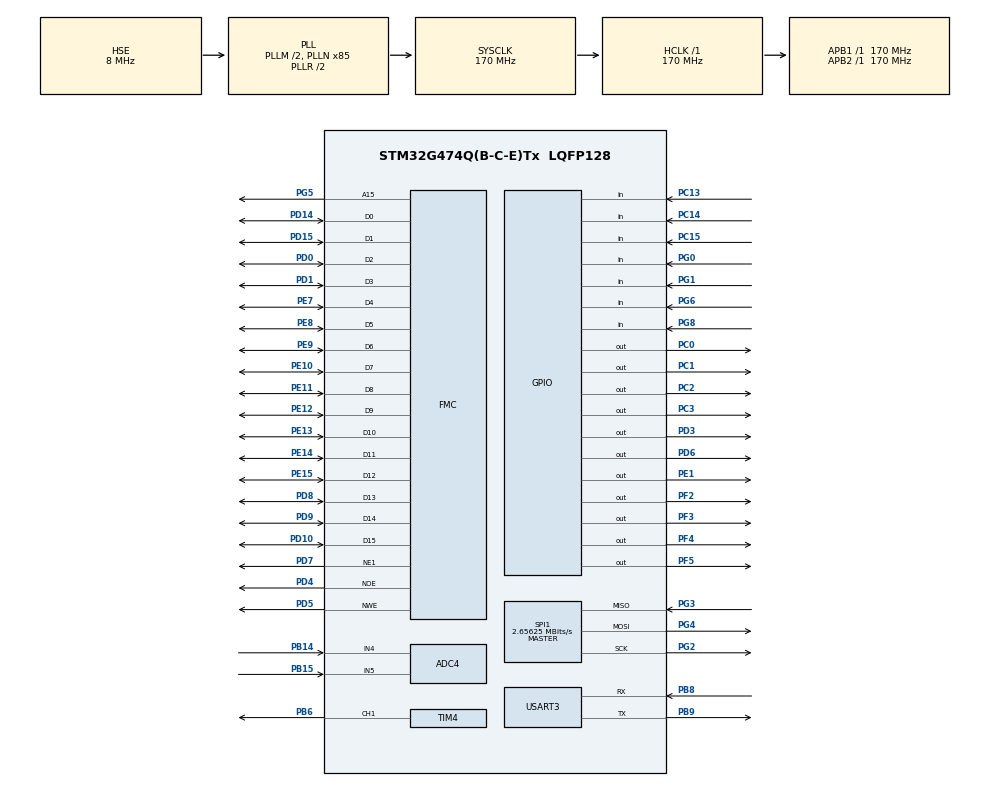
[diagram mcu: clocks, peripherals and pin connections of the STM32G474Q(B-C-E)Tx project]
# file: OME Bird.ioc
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ADC4.Channel-0\#ChannelRegularConversion=ADC_CHANNEL_4
ADC4.Channel-1\#ChannelRegularConversion=ADC_CHANNEL_4
ADC4.DMAContinuousRequests=ENABLE
ADC4.ExternalTrigConv=ADC_EXTERNALTRIG_T1_TRGO
ADC4.NbrOfConversion=2
ADC4.NbrOfConversionFlag=1
ADC4.OffsetNumber-0\#ChannelRegularConversion=ADC_OFFSET_NONE
ADC4.OffsetNumber-1\#ChannelRegularConversion=ADC_OFFSET_NONE
ADC4.Rank-0\#ChannelRegularConversion=1
ADC4.Rank-1\#ChannelRegularConversion=2
ADC4.SamplingTime-0\#ChannelRegularConversion=ADC_SAMPLETIME_640CYCLES_5
ADC4.SamplingTime-1\#ChannelRegularConversion=ADC_SAMPLETIME_2CYCLES_5
ADC4.SingleDiff-0\#ChannelRegularConversion=ADC_DIFFERENTIAL_ENDED
ADC4.SingleDiff-1\#ChannelRegularConversion=ADC_DIFFERENTIAL_ENDED
Dma.ADC4.0.Direction=DMA_PERIPH_TO_MEMORY
Dma.ADC4.0.EventEnable=DISABLE
Dma.ADC4.0.Instance=DMA1_Channel2
Dma.ADC4.0.MemDataAlignment=DMA_MDATAALIGN_HALFWORD
Dma.ADC4.0.MemInc=DMA_MINC_ENABLE
Dma.ADC4.0.Mode=DMA_CIRCULAR
Dma.ADC4.0.PeriphDataAlignment=DMA_PDATAALIGN_HALFWORD
Dma.ADC4.0.PeriphInc=DMA_PINC_DISABLE
Dma.ADC4.0.Polarity=HAL_DMAMUX_REQ_GEN_RISING
Dma.ADC4.0.Priority=DMA_PRIORITY_LOW
Dma.ADC4.0.RequestNumber=1
Dma.ADC4.0.SignalID=NONE
Dma.ADC4.0.SyncEnable=DISABLE
Dma.ADC4.0.SyncPolarity=HAL_DMAMUX_SYNC_NO_EVENT
Dma.ADC4.0.SyncRequestNumber=1
Dma.ADC4.0.SyncSignalID=NONE
Dma.MEMTOMEM.1.Direction=DMA_MEMORY_TO_MEMORY
Dma.MEMTOMEM.1.EventEnable=DISABLE
Dma.MEMTOMEM.1.Instance=DMA1_Channel1
Dma.MEMTOMEM.1.MemDataAlignment=DMA_MDATAALIGN_BYTE
Dma.MEMTOMEM.1.MemInc=DMA_MINC_ENABLE
Dma.MEMTOMEM.1.Mode=DMA_NORMAL
Dma.MEMTOMEM.1.PeriphDataAlignment=DMA_PDATAALIGN_BYTE
Dma.MEMTOMEM.1.PeriphInc=DMA_PINC_ENABLE
Dma.MEMTOMEM.1.Polarity=HAL_DMAMUX_REQ_GEN_RISING
Dma.MEMTOMEM.1.Priority=DMA_PRIORITY_HIGH
Dma.MEMTOMEM.1.RequestNumber=1
Dma.MEMTOMEM.1.SignalID=NONE
Dma.MEMTOMEM.1.SyncEnable=DISABLE
Dma.MEMTOMEM.1.SyncPolarity=HAL_DMAMUX_SYNC_NO_EVENT
Dma.MEMTOMEM.1.SyncRequestNumber=1
Dma.MEMTOMEM.1.SyncSignalID=NONE
Dma.Request0=ADC4
Dma.Request1=MEMTOMEM
FMC.AddressSetupTime1=1
FMC.BusTurnAroundDuration1=1
FMC.DataHoldTime1=1
FMC.DataSetupTime1=1
Mcu.Family=STM32G4
Mcu.Name=STM32G474Q(B-C-E)Tx
Mcu.Package=LQFP128
NVIC.DMA1_Channel1_IRQn=true\:0\:0\:false\:false\:true\:false\:true\:true
NVIC.DMA1_Channel2_IRQn=true\:0\:0\:false\:false\:true\:false\:true\:true
NVIC.PriorityGroup=NVIC_PRIORITYGROUP_4
NVIC.TIM6_DAC_IRQn=true\:15\:0\:true\:false\:true\:true\:true\:true
NVIC.USART3_IRQn=true\:0\:0\:false\:false\:true\:true\:true\:true
PB14.Mode=IN4-Differential
PB14.Signal=ADC4_IN4
PB15.Mode=IN4-Differential
PB15.Signal=ADC4_IN5
PB6.Signal=S_TIM4_CH1
PB8-BOOT0.Mode=Asynchronous
PB8-BOOT0.Signal=USART3_RX
PB9.Mode=Asynchronous
PB9.Signal=USART3_TX
PC0.Signal=GPIO_Output
PC1.Signal=GPIO_Output
PC13.GPIO_PuPd=GPIO_PULLUP
PC13.Signal=GPIO_Input
PC14-OSC32_IN.GPIO_PuPd=GPIO_PULLUP
PC14-OSC32_IN.Signal=GPIO_Input
PC15-OSC32_OUT.GPIO_PuPd=GPIO_PULLUP
PC15-OSC32_OUT.Signal=GPIO_Input
PC2.Signal=GPIO_Output
PC3.Signal=GPIO_Output
PD0.Signal=FMC_D2_DA2
PD1.Signal=FMC_D3_DA3
PD10.Signal=FMC_D15_DA15
PD14.Signal=FMC_D0_DA0
PD15.Signal=FMC_D1_DA1
PD3.Signal=GPIO_Output
PD4.Signal=FMC_NOE
PD5.Signal=FMC_NWE
PD6.Signal=GPIO_Output
PD7.Mode=NorPsramChipSelect1_1
PD7.Signal=FMC_NE1
PD8.Signal=FMC_D13_DA13
PD9.Signal=FMC_D14_DA14
PE1.Signal=GPIO_Output
PE10.Signal=FMC_D7_DA7
PE11.Signal=FMC_D8_DA8
PE12.Signal=FMC_D9_DA9
PE13.Signal=FMC_D10_DA10
PE14.Signal=FMC_D11_DA11
PE15.Signal=FMC_D12_DA12
PE7.Signal=FMC_D4_DA4
PE8.Signal=FMC_D5_DA5
PE9.Signal=FMC_D6_DA6
PF0-OSC_IN.Mode=HSE-External-Clock-Source
PF0-OSC_IN.Signal=RCC_OSC_IN
PF2.Signal=GPIO_Output
PF3.Signal=GPIO_Output
PF4.Signal=GPIO_Output
PF5.Signal=GPIO_Output
PG0.GPIO_PuPd=GPIO_PULLUP
PG0.Signal=GPIO_Input
PG1.GPIO_PuPd=GPIO_PULLUP
PG1.Signal=GPIO_Input
PG2.Mode=Full_Duplex_Master
PG2.Signal=SPI1_SCK
PG3.Mode=Full_Duplex_Master
PG3.Signal=SPI1_MISO
PG4.Mode=Full_Duplex_Master
PG4.Signal=SPI1_MOSI
PG5.Signal=FMC_A15
PG6.GPIO_PuPd=GPIO_PULLUP
PG6.Signal=GPIO_Input
PG8.GPIO_PuPd=GPIO_PULLUP
PG8.Signal=GPIO_Input
ProjectManager.HeapSize=0x200
ProjectManager.StackSize=0x400
ProjectManager.TargetToolchain=STM32CubeIDE
RCC.ADC12Freq_Value=170000000
RCC.ADC345Freq_Value=170000000
RCC.AHBFreq_Value=170000000
RCC.APB1Freq_Value=170000000
RCC.APB1TimFreq_Value=170000000
RCC.APB2Freq_Value=170000000
RCC.APB2TimFreq_Value=170000000
RCC.CortexFreq_Value=170000000
RCC.EXTERNAL_CLOCK_VALUE=12288000
RCC.HCLKFreq_Value=170000000
RCC.HSE_VALUE=8000000
RCC.HSI48_VALUE=48000000
RCC.HSI_VALUE=16000000
RCC.LSE_VALUE=32768
RCC.PLLM=RCC_PLLM_DIV2
RCC.PLLN=85
RCC.PLLQ=RCC_PLLQ_DIV6
RCC.PLLSourceVirtual=RCC_PLLSOURCE_HSE
RCC.SYSCLKFreq_VALUE=170000000
RCC.SYSCLKSource=RCC_SYSCLKSOURCE_PLLCLK
RCC.USBFreq_Value=56666666.666666664
RCC.VCOOutputFreq_Value=340000000
SH.FMC_A15.0=FMC_A15,A15_1
SH.FMC_D0_DA0.0=FMC_D0,16b-d1
SH.FMC_D10_DA10.0=FMC_D10,16b-d1
SH.FMC_D11_DA11.0=FMC_D11,16b-d1
SH.FMC_D12_DA12.0=FMC_D12,16b-d1
SH.FMC_D13_DA13.0=FMC_D13,16b-d1
SH.FMC_D14_DA14.0=FMC_D14,16b-d1
SH.FMC_D15_DA15.0=FMC_D15,16b-d1
SH.FMC_D1_DA1.0=FMC_D1,16b-d1
SH.FMC_D2_DA2.0=FMC_D2,16b-d1
SH.FMC_D3_DA3.0=FMC_D3,16b-d1
SH.FMC_D4_DA4.0=FMC_D4,16b-d1
SH.FMC_D5_DA5.0=FMC_D5,16b-d1
SH.FMC_D6_DA6.0=FMC_D6,16b-d1
SH.FMC_D7_DA7.0=FMC_D7,16b-d1
SH.FMC_D8_DA8.0=FMC_D8,16b-d1
SH.FMC_D9_DA9.0=FMC_D9,16b-d1
SH.FMC_NOE.0=FMC_NOE,Lcd1
SH.FMC_NWE.0=FMC_NWE,Lcd1
SH.S_TIM4_CH1.0=TIM4_CH1,PWM Generation1 CH1
SPI1.BaudRatePrescaler=SPI_BAUDRATEPRESCALER_64
SPI1.CalculateBaudRate=2.65625 MBits/s
SPI1.DataSize=SPI_DATASIZE_8BIT
SPI1.Direction=SPI_DIRECTION_2LINES
SPI1.Mode=SPI_MODE_MASTER
SPI1.NSSPMode=SPI_NSS_PULSE_DISABLE
SPI1.VirtualType=VM_MASTER
TIM1.TIM_MasterOutputTrigger=TIM_TRGO_UPDATE
TIM4.Channel-PWM\ Generation1\ CH1=TIM_CHANNEL_1
TIM4.PeriodNoDither=99
TIM4.Prescaler=1439
TIM6.PeriodNoDither=49999
TIM6.Prescaler=143
USART3.OverrunDisableParam=ADVFEATURE_OVERRUN_DISABLE
USART3.VirtualMode-Asynchronous=VM_ASYNC
VP_SYS_VS_DBSignals.Mode=DisableDeadBatterySignals
VP_TIM1_VS_ClockSourceINT.Mode=Internal
VP_TIM4_VS_ClockSourceINT.Mode=Internal
VP_TIM6_VS_ClockSourceINT.Mode=Enable_Timer
board=custom

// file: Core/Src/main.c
/* USER CODE BEGIN Header */
/**
  ******************************************************************************
  * @file           : main.c
  * @brief          : Main program body
  ******************************************************************************
  * @attention
  *
  * Copyright (c) 2022 STMicroelectronics.
  * All rights reserved.
  *
  * This software is licensed under terms that can be found in the LICENSE file
  * in the root directory of this software component.
  * If no LICENSE file comes with this software, it is provided AS-IS.
  *
  ******************************************************************************
  */
/* USER CODE END Header */
#include "main.h"

/* USER CODE BEGIN Includes */

#include "LED.h"
#include "kbd.h"
#include "SCI.h"
#include "timing_utils.h"
#include "periodic_services.h"
#include "lcd_backlight.h"
#include "lcd.h"
#include "joystick.h"
#include "objects.h"
#include "graphics.h"
#include "game.h"

/* USER CODE END Includes */

ADC_HandleTypeDef hadc4;
DMA_HandleTypeDef hdma_adc4;

SPI_HandleTypeDef hspi1;

TIM_HandleTypeDef htim1;

DMA_HandleTypeDef hdma_memtomem_dma1_channel1;
SRAM_HandleTypeDef hsram1;

void SystemClock_Config(void);
static void MX_GPIO_Init(void);
static void MX_DMA_Init(void);
static void MX_USART3_UART_Init(void);
static void MX_TIM6_Init(void);
static void MX_TIM4_Init(void);
static void MX_FMC_Init(void);
static void MX_ADC4_Init(void);
static void MX_SPI1_Init(void);
static void MX_TIM1_Init(void);

int main(void)
{

  /* MCU Configuration--------------------------------------------------------*/

  /* Reset of all peripherals, Initializes the Flash interface and the Systick. */
  HAL_Init();

  /* Configure the system clock */
  SystemClock_Config();

  /* Initialize all configured peripherals */
  MX_GPIO_Init();
  MX_DMA_Init();
  MX_USART3_UART_Init();
  MX_TIM6_Init();
  MX_TIM4_Init();
  MX_FMC_Init();
  MX_SPI1_Init();
  MX_TIM1_Init();
  /* USER CODE BEGIN 2 */
  MX_ADC4_Init();
   SCI_init();
   KBD_init();
   LED_init();
   PSERV_init();
   PSERV_enable();

   //  LCD_BKLT_init();
   //  LCD_BKLT_demo();

       LCD_Init();
   //  LCD_demo_simple();

   LCD_uGUI_init();
    LCD_uGUI_demo_Misko3();

    JOY_init(&hadc4, &htim1);

  /* USER CODE END 2 */

  /* Infinite loop */
  while (1)
  {

    /* USER CODE BEGIN 3 */

    Game();
  }
  /* USER CODE END 3 */
}

void SystemClock_Config(void)
{
  RCC_OscInitTypeDef RCC_OscInitStruct = {0};
  RCC_ClkInitTypeDef RCC_ClkInitStruct = {0};

  /** Configure the main internal regulator output voltage
  */
  HAL_PWREx_ControlVoltageScaling(PWR_REGULATOR_VOLTAGE_SCALE1_BOOST);

  /** Initializes the RCC Oscillators according to the specified parameters
  * in the RCC_OscInitTypeDef structure.
  */
  RCC_OscInitStruct.OscillatorType = RCC_OSCILLATORTYPE_HSE;
  RCC_OscInitStruct.HSEState = RCC_HSE_BYPASS;
  RCC_OscInitStruct.PLL.PLLState = RCC_PLL_ON;
  RCC_OscInitStruct.PLL.PLLSource = RCC_PLLSOURCE_HSE;
  RCC_OscInitStruct.PLL.PLLM = RCC_PLLM_DIV2;
  RCC_OscInitStruct.PLL.PLLN = 85;
  RCC_OscInitStruct.PLL.PLLP = RCC_PLLP_DIV2;
  RCC_OscInitStruct.PLL.PLLQ = RCC_PLLQ_DIV6;
  RCC_OscInitStruct.PLL.PLLR = RCC_PLLR_DIV2;
  if (HAL_RCC_OscConfig(&RCC_OscInitStruct) != HAL_OK)
  {
    Error_Handler();
  }

  /** Initializes the CPU, AHB and APB buses clocks
  */
  RCC_ClkInitStruct.ClockType = RCC_CLOCKTYPE_HCLK|RCC_CLOCKTYPE_SYSCLK
                              |RCC_CLOCKTYPE_PCLK1|RCC_CLOCKTYPE_PCLK2;
  RCC_ClkInitStruct.SYSCLKSource = RCC_SYSCLKSOURCE_PLLCLK;
  RCC_ClkInitStruct.AHBCLKDivider = RCC_SYSCLK_DIV1;
  RCC_ClkInitStruct.APB1CLKDivider = RCC_HCLK_DIV1;
  RCC_ClkInitStruct.APB2CLKDivider = RCC_HCLK_DIV1;

  if (HAL_RCC_ClockConfig(&RCC_ClkInitStruct, FLASH_LATENCY_4) != HAL_OK)
  {
    Error_Handler();
  }
}

static void MX_ADC4_Init(void)
{

  ADC_ChannelConfTypeDef sConfig = {0};

  /** Common config
  */
  hadc4.Instance = ADC4;
  hadc4.Init.ClockPrescaler = ADC_CLOCK_SYNC_PCLK_DIV4;
  hadc4.Init.Resolution = ADC_RESOLUTION_12B;
  hadc4.Init.DataAlign = ADC_DATAALIGN_RIGHT;
  hadc4.Init.GainCompensation = 0;
  hadc4.Init.ScanConvMode = ADC_SCAN_ENABLE;
  hadc4.Init.EOCSelection = ADC_EOC_SINGLE_CONV;
  hadc4.Init.LowPowerAutoWait = DISABLE;
  hadc4.Init.ContinuousConvMode = DISABLE;
  hadc4.Init.NbrOfConversion = 2;
  hadc4.Init.DiscontinuousConvMode = DISABLE;
  hadc4.Init.ExternalTrigConv = ADC_EXTERNALTRIG_T1_TRGO;
  hadc4.Init.ExternalTrigConvEdge = ADC_EXTERNALTRIGCONVEDGE_RISING;
  hadc4.Init.DMAContinuousRequests = ENABLE;
  hadc4.Init.Overrun = ADC_OVR_DATA_PRESERVED;
  hadc4.Init.OversamplingMode = DISABLE;
  if (HAL_ADC_Init(&hadc4) != HAL_OK)
  {
    Error_Handler();
  }

  /** Configure Regular Channel
  */
  sConfig.Channel = ADC_CHANNEL_4;
  sConfig.Rank = ADC_REGULAR_RANK_1;
  sConfig.SamplingTime = ADC_SAMPLETIME_640CYCLES_5;
  sConfig.SingleDiff = ADC_DIFFERENTIAL_ENDED;
  sConfig.OffsetNumber = ADC_OFFSET_NONE;
  sConfig.Offset = 0;
  if (HAL_ADC_ConfigChannel(&hadc4, &sConfig) != HAL_OK)
  {
    Error_Handler();
  }

  /** Configure Regular Channel
  */
  sConfig.Rank = ADC_REGULAR_RANK_2;
  sConfig.SamplingTime = ADC_SAMPLETIME_2CYCLES_5;
  if (HAL_ADC_ConfigChannel(&hadc4, &sConfig) != HAL_OK)
  {
    Error_Handler();
  }

}

static void MX_SPI1_Init(void)
{

  /* SPI1 parameter configuration*/
  hspi1.Instance = SPI1;
  hspi1.Init.Mode = SPI_MODE_MASTER;
  hspi1.Init.Direction = SPI_DIRECTION_2LINES;
  hspi1.Init.DataSize = SPI_DATASIZE_8BIT;
  hspi1.Init.CLKPolarity = SPI_POLARITY_LOW;
  hspi1.Init.CLKPhase = SPI_PHASE_1EDGE;
  hspi1.Init.NSS = SPI_NSS_SOFT;
  hspi1.Init.BaudRatePrescaler = SPI_BAUDRATEPRESCALER_64;
  hspi1.Init.FirstBit = SPI_FIRSTBIT_MSB;
  hspi1.Init.TIMode = SPI_TIMODE_DISABLE;
  hspi1.Init.CRCCalculation = SPI_CRCCALCULATION_DISABLE;
  hspi1.Init.CRCPolynomial = 7;
  hspi1.Init.CRCLength = SPI_CRC_LENGTH_DATASIZE;
  hspi1.Init.NSSPMode = SPI_NSS_PULSE_DISABLE;
  if (HAL_SPI_Init(&hspi1) != HAL_OK)
  {
    Error_Handler();
  }

}

static void MX_TIM1_Init(void)
{

  TIM_ClockConfigTypeDef sClockSourceConfig = {0};
  TIM_MasterConfigTypeDef sMasterConfig = {0};

  htim1.Instance = TIM1;
  htim1.Init.Prescaler = 0;
  htim1.Init.CounterMode = TIM_COUNTERMODE_UP;
  htim1.Init.Period = 65535;
  htim1.Init.ClockDivision = TIM_CLOCKDIVISION_DIV1;
  htim1.Init.RepetitionCounter = 0;
  htim1.Init.AutoReloadPreload = TIM_AUTORELOAD_PRELOAD_DISABLE;
  if (HAL_TIM_Base_Init(&htim1) != HAL_OK)
  {
    Error_Handler();
  }
  sClockSourceConfig.ClockSource = TIM_CLOCKSOURCE_INTERNAL;
  if (HAL_TIM_ConfigClockSource(&htim1, &sClockSourceConfig) != HAL_OK)
  {
    Error_Handler();
  }
  sMasterConfig.MasterOutputTrigger = TIM_TRGO_UPDATE;
  sMasterConfig.MasterOutputTrigger2 = TIM_TRGO2_RESET;
  sMasterConfig.MasterSlaveMode = TIM_MASTERSLAVEMODE_DISABLE;
  if (HAL_TIMEx_MasterConfigSynchronization(&htim1, &sMasterConfig) != HAL_OK)
  {
    Error_Handler();
  }

}

static void MX_TIM4_Init(void)
{

  LL_TIM_InitTypeDef TIM_InitStruct = {0};
  LL_TIM_OC_InitTypeDef TIM_OC_InitStruct = {0};

  LL_GPIO_InitTypeDef GPIO_InitStruct = {0};

  /* Peripheral clock enable */
  LL_APB1_GRP1_EnableClock(LL_APB1_GRP1_PERIPH_TIM4);

  TIM_InitStruct.Prescaler = 1439;
  TIM_InitStruct.CounterMode = LL_TIM_COUNTERMODE_UP;
  TIM_InitStruct.Autoreload = 99;
  TIM_InitStruct.ClockDivision = LL_TIM_CLOCKDIVISION_DIV1;
  LL_TIM_Init(TIM4, &TIM_InitStruct);
  LL_TIM_DisableARRPreload(TIM4);
  LL_TIM_SetClockSource(TIM4, LL_TIM_CLOCKSOURCE_INTERNAL);
  LL_TIM_OC_EnablePreload(TIM4, LL_TIM_CHANNEL_CH1);
  TIM_OC_InitStruct.OCMode = LL_TIM_OCMODE_PWM1;
  TIM_OC_InitStruct.OCState = LL_TIM_OCSTATE_DISABLE;
  TIM_OC_InitStruct.OCNState = LL_TIM_OCSTATE_DISABLE;
  TIM_OC_InitStruct.CompareValue = 0;
  TIM_OC_InitStruct.OCPolarity = LL_TIM_OCPOLARITY_HIGH;
  LL_TIM_OC_Init(TIM4, LL_TIM_CHANNEL_CH1, &TIM_OC_InitStruct);
  LL_TIM_OC_DisableFast(TIM4, LL_TIM_CHANNEL_CH1);
  LL_TIM_SetTriggerOutput(TIM4, LL_TIM_TRGO_RESET);
  LL_TIM_DisableMasterSlaveMode(TIM4);
  LL_AHB2_GRP1_EnableClock(LL_AHB2_GRP1_PERIPH_GPIOB);
  /**TIM4 GPIO Configuration
  PB6   ------> TIM4_CH1
  */
  GPIO_InitStruct.Pin = LL_GPIO_PIN_6;
  GPIO_InitStruct.Mode = LL_GPIO_MODE_ALTERNATE;
  GPIO_InitStruct.Speed = LL_GPIO_SPEED_FREQ_LOW;
  GPIO_InitStruct.OutputType = LL_GPIO_OUTPUT_PUSHPULL;
  GPIO_InitStruct.Pull = LL_GPIO_PULL_NO;
  GPIO_InitStruct.Alternate = LL_GPIO_AF_2;
  LL_GPIO_Init(GPIOB, &GPIO_InitStruct);

}

static void MX_TIM6_Init(void)
{

  LL_TIM_InitTypeDef TIM_InitStruct = {0};

  /* Peripheral clock enable */
  LL_APB1_GRP1_EnableClock(LL_APB1_GRP1_PERIPH_TIM6);

  /* TIM6 interrupt Init */
  NVIC_SetPriority(TIM6_DAC_IRQn, NVIC_EncodePriority(NVIC_GetPriorityGrouping(),15, 0));
  NVIC_EnableIRQ(TIM6_DAC_IRQn);

  TIM_InitStruct.Prescaler = 143;
  TIM_InitStruct.CounterMode = LL_TIM_COUNTERMODE_UP;
  TIM_InitStruct.Autoreload = 49999;
  LL_TIM_Init(TIM6, &TIM_InitStruct);
  LL_TIM_DisableARRPreload(TIM6);
  LL_TIM_SetTriggerOutput(TIM6, LL_TIM_TRGO_RESET);
  LL_TIM_DisableMasterSlaveMode(TIM6);

}

static void MX_USART3_UART_Init(void)
{

  LL_USART_InitTypeDef USART_InitStruct = {0};

  LL_GPIO_InitTypeDef GPIO_InitStruct = {0};
  RCC_PeriphCLKInitTypeDef PeriphClkInit = {0};

  /** Initializes the peripherals clocks
  */
  PeriphClkInit.PeriphClockSelection = RCC_PERIPHCLK_USART3;
  PeriphClkInit.Usart3ClockSelection = RCC_USART3CLKSOURCE_PCLK1;
  if (HAL_RCCEx_PeriphCLKConfig(&PeriphClkInit) != HAL_OK)
  {
    Error_Handler();
  }

  /* Peripheral clock enable */
  LL_APB1_GRP1_EnableClock(LL_APB1_GRP1_PERIPH_USART3);

  LL_AHB2_GRP1_EnableClock(LL_AHB2_GRP1_PERIPH_GPIOB);
  /**USART3 GPIO Configuration
  PB8-BOOT0   ------> USART3_RX
  PB9   ------> USART3_TX
  */
  GPIO_InitStruct.Pin = LL_GPIO_PIN_8;
  GPIO_InitStruct.Mode = LL_GPIO_MODE_ALTERNATE;
  GPIO_InitStruct.Speed = LL_GPIO_SPEED_FREQ_LOW;
  GPIO_InitStruct.OutputType = LL_GPIO_OUTPUT_PUSHPULL;
  GPIO_InitStruct.Pull = LL_GPIO_PULL_NO;
  GPIO_InitStruct.Alternate = LL_GPIO_AF_7;
  LL_GPIO_Init(GPIOB, &GPIO_InitStruct);

  GPIO_InitStruct.Pin = LL_GPIO_PIN_9;
  GPIO_InitStruct.Mode = LL_GPIO_MODE_ALTERNATE;
  GPIO_InitStruct.Speed = LL_GPIO_SPEED_FREQ_LOW;
  GPIO_InitStruct.OutputType = LL_GPIO_OUTPUT_PUSHPULL;
  GPIO_InitStruct.Pull = LL_GPIO_PULL_NO;
  GPIO_InitStruct.Alternate = LL_GPIO_AF_7;
  LL_GPIO_Init(GPIOB, &GPIO_InitStruct);

  /* USART3 interrupt Init */
  NVIC_SetPriority(USART3_IRQn, NVIC_EncodePriority(NVIC_GetPriorityGrouping(),0, 0));
  NVIC_EnableIRQ(USART3_IRQn);

  USART_InitStruct.PrescalerValue = LL_USART_PRESCALER_DIV1;
  USART_InitStruct.BaudRate = 115200;
  USART_InitStruct.DataWidth = LL_USART_DATAWIDTH_8B;
  USART_InitStruct.StopBits = LL_USART_STOPBITS_1;
  USART_InitStruct.Parity = LL_USART_PARITY_NONE;
  USART_InitStruct.TransferDirection = LL_USART_DIRECTION_TX_RX;
  USART_InitStruct.HardwareFlowControl = LL_USART_HWCONTROL_NONE;
  USART_InitStruct.OverSampling = LL_USART_OVERSAMPLING_16;
  LL_USART_Init(USART3, &USART_InitStruct);
  LL_USART_SetTXFIFOThreshold(USART3, LL_USART_FIFOTHRESHOLD_1_8);
  LL_USART_SetRXFIFOThreshold(USART3, LL_USART_FIFOTHRESHOLD_1_8);
  LL_USART_DisableFIFO(USART3);
  LL_USART_DisableOverrunDetect(USART3);
  LL_USART_ConfigAsyncMode(USART3);

  LL_USART_Enable(USART3);

  /* Polling USART3 initialisation */
  while((!(LL_USART_IsActiveFlag_TEACK(USART3))) || (!(LL_USART_IsActiveFlag_REACK(USART3))))
  {
  }

}

static void MX_DMA_Init(void)
{

  /* DMA controller clock enable */
  __HAL_RCC_DMAMUX1_CLK_ENABLE();
  __HAL_RCC_DMA1_CLK_ENABLE();

  /* Configure DMA request hdma_memtomem_dma1_channel1 on DMA1_Channel1 */
  hdma_memtomem_dma1_channel1.Instance = DMA1_Channel1;
  hdma_memtomem_dma1_channel1.Init.Request = DMA_REQUEST_MEM2MEM;
  hdma_memtomem_dma1_channel1.Init.Direction = DMA_MEMORY_TO_MEMORY;
  hdma_memtomem_dma1_channel1.Init.PeriphInc = DMA_PINC_ENABLE;
  hdma_memtomem_dma1_channel1.Init.MemInc = DMA_MINC_ENABLE;
  hdma_memtomem_dma1_channel1.Init.PeriphDataAlignment = DMA_PDATAALIGN_BYTE;
  hdma_memtomem_dma1_channel1.Init.MemDataAlignment = DMA_MDATAALIGN_BYTE;
  hdma_memtomem_dma1_channel1.Init.Mode = DMA_NORMAL;
  hdma_memtomem_dma1_channel1.Init.Priority = DMA_PRIORITY_HIGH;
  if (HAL_DMA_Init(&hdma_memtomem_dma1_channel1) != HAL_OK)
  {
    Error_Handler( );
  }

  /* DMA interrupt init */
  /* DMA1_Channel1_IRQn interrupt configuration */
  HAL_NVIC_SetPriority(DMA1_Channel1_IRQn, 0, 0);
  HAL_NVIC_EnableIRQ(DMA1_Channel1_IRQn);
  /* DMA1_Channel2_IRQn interrupt configuration */
  HAL_NVIC_SetPriority(DMA1_Channel2_IRQn, 0, 0);
  HAL_NVIC_EnableIRQ(DMA1_Channel2_IRQn);

}

/* FMC initialization function */
static void MX_FMC_Init(void)
{

  FMC_NORSRAM_TimingTypeDef Timing = {0};

  /** Perform the SRAM1 memory initialization sequence
  */
  hsram1.Instance = FMC_NORSRAM_DEVICE;
  hsram1.Extended = FMC_NORSRAM_EXTENDED_DEVICE;
  /* hsram1.Init */
  hsram1.Init.NSBank = FMC_NORSRAM_BANK1;
  hsram1.Init.DataAddressMux = FMC_DATA_ADDRESS_MUX_DISABLE;
  hsram1.Init.MemoryType = FMC_MEMORY_TYPE_SRAM;
  hsram1.Init.MemoryDataWidth = FMC_NORSRAM_MEM_BUS_WIDTH_16;
  hsram1.Init.BurstAccessMode = FMC_BURST_ACCESS_MODE_DISABLE;
  hsram1.Init.WaitSignalPolarity = FMC_WAIT_SIGNAL_POLARITY_LOW;
  hsram1.Init.WaitSignalActive = FMC_WAIT_TIMING_BEFORE_WS;
  hsram1.Init.WriteOperation = FMC_WRITE_OPERATION_ENABLE;
  hsram1.Init.WaitSignal = FMC_WAIT_SIGNAL_DISABLE;
  hsram1.Init.ExtendedMode = FMC_EXTENDED_MODE_DISABLE;
  hsram1.Init.AsynchronousWait = FMC_ASYNCHRONOUS_WAIT_DISABLE;
  hsram1.Init.WriteBurst = FMC_WRITE_BURST_DISABLE;
  hsram1.Init.ContinuousClock = FMC_CONTINUOUS_CLOCK_SYNC_ONLY;
  hsram1.Init.WriteFifo = FMC_WRITE_FIFO_ENABLE;
  hsram1.Init.NBLSetupTime = 0;
  hsram1.Init.PageSize = FMC_PAGE_SIZE_NONE;
  hsram1.Init.MaxChipSelectPulse = DISABLE;
  /* Timing */
  Timing.AddressSetupTime = 1;
  Timing.AddressHoldTime = 15;
  Timing.DataSetupTime = 1;
  Timing.DataHoldTime = 1;
  Timing.BusTurnAroundDuration = 1;
  Timing.CLKDivision = 16;
  Timing.DataLatency = 17;
  Timing.AccessMode = FMC_ACCESS_MODE_A;
  /* ExtTiming */

  if (HAL_SRAM_Init(&hsram1, &Timing, NULL) != HAL_OK)
  {
    Error_Handler( );
  }

}

static void MX_GPIO_Init(void)
{
  LL_GPIO_InitTypeDef GPIO_InitStruct = {0};

  /* GPIO Ports Clock Enable */
  LL_AHB2_GRP1_EnableClock(LL_AHB2_GRP1_PERIPH_GPIOC);
  LL_AHB2_GRP1_EnableClock(LL_AHB2_GRP1_PERIPH_GPIOF);
  LL_AHB2_GRP1_EnableClock(LL_AHB2_GRP1_PERIPH_GPIOE);
  LL_AHB2_GRP1_EnableClock(LL_AHB2_GRP1_PERIPH_GPIOB);
  LL_AHB2_GRP1_EnableClock(LL_AHB2_GRP1_PERIPH_GPIOD);
  LL_AHB2_GRP1_EnableClock(LL_AHB2_GRP1_PERIPH_GPIOG);

  /**/
  LL_GPIO_ResetOutputPin(GPIOF, LL_GPIO_PIN_3);

  /**/
  LL_GPIO_ResetOutputPin(GPIOF, LL_GPIO_PIN_4);

  /**/
  LL_GPIO_ResetOutputPin(GPIOF, LL_GPIO_PIN_5);

  /**/
  LL_GPIO_ResetOutputPin(GPIOC, LL_GPIO_PIN_0);

  /**/
  LL_GPIO_ResetOutputPin(GPIOC, LL_GPIO_PIN_1);

  /**/
  LL_GPIO_ResetOutputPin(GPIOC, LL_GPIO_PIN_2);

  /**/
  LL_GPIO_ResetOutputPin(GPIOC, LL_GPIO_PIN_3);

  /**/
  LL_GPIO_ResetOutputPin(GPIOF, LL_GPIO_PIN_2);

  /**/
  LL_GPIO_ResetOutputPin(GPIOD, LL_GPIO_PIN_3);

  /**/
  LL_GPIO_ResetOutputPin(GPIOD, LL_GPIO_PIN_6);

  /**/
  LL_GPIO_ResetOutputPin(GPIOE, LL_GPIO_PIN_1);

  /**/
  GPIO_InitStruct.Pin = LL_GPIO_PIN_13;
  GPIO_InitStruct.Mode = LL_GPIO_MODE_INPUT;
  GPIO_InitStruct.Pull = LL_GPIO_PULL_UP;
  LL_GPIO_Init(GPIOC, &GPIO_InitStruct);

  /**/
  GPIO_InitStruct.Pin = LL_GPIO_PIN_14;
  GPIO_InitStruct.Mode = LL_GPIO_MODE_INPUT;
  GPIO_InitStruct.Pull = LL_GPIO_PULL_UP;
  LL_GPIO_Init(GPIOC, &GPIO_InitStruct);

  /**/
  GPIO_InitStruct.Pin = LL_GPIO_PIN_15;
  GPIO_InitStruct.Mode = LL_GPIO_MODE_INPUT;
  GPIO_InitStruct.Pull = LL_GPIO_PULL_UP;
  LL_GPIO_Init(GPIOC, &GPIO_InitStruct);

  /**/
  GPIO_InitStruct.Pin = LL_GPIO_PIN_3;
  GPIO_InitStruct.Mode = LL_GPIO_MODE_OUTPUT;
  GPIO_InitStruct.Speed = LL_GPIO_SPEED_FREQ_LOW;
  GPIO_InitStruct.OutputType = LL_GPIO_OUTPUT_PUSHPULL;
  GPIO_InitStruct.Pull = LL_GPIO_PULL_NO;
  LL_GPIO_Init(GPIOF, &GPIO_InitStruct);

  /**/
  GPIO_InitStruct.Pin = LL_GPIO_PIN_4;
  GPIO_InitStruct.Mode = LL_GPIO_MODE_OUTPUT;
  GPIO_InitStruct.Speed = LL_GPIO_SPEED_FREQ_LOW;
  GPIO_InitStruct.OutputType = LL_GPIO_OUTPUT_PUSHPULL;
  GPIO_InitStruct.Pull = LL_GPIO_PULL_NO;
  LL_GPIO_Init(GPIOF, &GPIO_InitStruct);

  /**/
  GPIO_InitStruct.Pin = LL_GPIO_PIN_5;
  GPIO_InitStruct.Mode = LL_GPIO_MODE_OUTPUT;
  GPIO_InitStruct.Speed = LL_GPIO_SPEED_FREQ_LOW;
  GPIO_InitStruct.OutputType = LL_GPIO_OUTPUT_PUSHPULL;
  GPIO_InitStruct.Pull = LL_GPIO_PULL_NO;
  LL_GPIO_Init(GPIOF, &GPIO_InitStruct);

  /**/
  GPIO_InitStruct.Pin = LL_GPIO_PIN_0;
  GPIO_InitStruct.Mode = LL_GPIO_MODE_OUTPUT;
  GPIO_InitStruct.Speed = LL_GPIO_SPEED_FREQ_LOW;
  GPIO_InitStruct.OutputType = LL_GPIO_OUTPUT_PUSHPULL;
  GPIO_InitStruct.Pull = LL_GPIO_PULL_NO;
  LL_GPIO_Init(GPIOC, &GPIO_InitStruct);

  /**/
  GPIO_InitStruct.Pin = LL_GPIO_PIN_1;
  GPIO_InitStruct.Mode = LL_GPIO_MODE_OUTPUT;
  GPIO_InitStruct.Speed = LL_GPIO_SPEED_FREQ_LOW;
  GPIO_InitStruct.OutputType = LL_GPIO_OUTPUT_PUSHPULL;
  GPIO_InitStruct.Pull = LL_GPIO_PULL_NO;
  LL_GPIO_Init(GPIOC, &GPIO_InitStruct);

  /**/
  GPIO_InitStruct.Pin = LL_GPIO_PIN_2;
  GPIO_InitStruct.Mode = LL_GPIO_MODE_OUTPUT;
  GPIO_InitStruct.Speed = LL_GPIO_SPEED_FREQ_LOW;
  GPIO_InitStruct.OutputType = LL_GPIO_OUTPUT_PUSHPULL;
  GPIO_InitStruct.Pull = LL_GPIO_PULL_NO;
  LL_GPIO_Init(GPIOC, &GPIO_InitStruct);

  /**/
  GPIO_InitStruct.Pin = LL_GPIO_PIN_3;
  GPIO_InitStruct.Mode = LL_GPIO_MODE_OUTPUT;
  GPIO_InitStruct.Speed = LL_GPIO_SPEED_FREQ_LOW;
  GPIO_InitStruct.OutputType = LL_GPIO_OUTPUT_PUSHPULL;
  GPIO_InitStruct.Pull = LL_GPIO_PULL_NO;
  LL_GPIO_Init(GPIOC, &GPIO_InitStruct);

  /**/
  GPIO_InitStruct.Pin = LL_GPIO_PIN_2;
  GPIO_InitStruct.Mode = LL_GPIO_MODE_OUTPUT;
  GPIO_InitStruct.Speed = LL_GPIO_SPEED_FREQ_LOW;
  GPIO_InitStruct.OutputType = LL_GPIO_OUTPUT_PUSHPULL;
  GPIO_InitStruct.Pull = LL_GPIO_PULL_NO;
  LL_GPIO_Init(GPIOF, &GPIO_InitStruct);

  /**/
  GPIO_InitStruct.Pin = LL_GPIO_PIN_0;
  GPIO_InitStruct.Mode = LL_GPIO_MODE_INPUT;
  GPIO_InitStruct.Pull = LL_GPIO_PULL_UP;
  LL_GPIO_Init(GPIOG, &GPIO_InitStruct);

  /**/
  GPIO_InitStruct.Pin = LL_GPIO_PIN_1;
  GPIO_InitStruct.Mode = LL_GPIO_MODE_INPUT;
  GPIO_InitStruct.Pull = LL_GPIO_PULL_UP;
  LL_GPIO_Init(GPIOG, &GPIO_InitStruct);

  /**/
  GPIO_InitStruct.Pin = LL_GPIO_PIN_6;
  GPIO_InitStruct.Mode = LL_GPIO_MODE_INPUT;
  GPIO_InitStruct.Pull = LL_GPIO_PULL_UP;
  LL_GPIO_Init(GPIOG, &GPIO_InitStruct);

  /**/
  GPIO_InitStruct.Pin = LL_GPIO_PIN_8;
  GPIO_InitStruct.Mode = LL_GPIO_MODE_INPUT;
  GPIO_InitStruct.Pull = LL_GPIO_PULL_UP;
  LL_GPIO_Init(GPIOG, &GPIO_InitStruct);

  /**/
  GPIO_InitStruct.Pin = LL_GPIO_PIN_3;
  GPIO_InitStruct.Mode = LL_GPIO_MODE_OUTPUT;
  GPIO_InitStruct.Speed = LL_GPIO_SPEED_FREQ_LOW;
  GPIO_InitStruct.OutputType = LL_GPIO_OUTPUT_PUSHPULL;
  GPIO_InitStruct.Pull = LL_GPIO_PULL_NO;
  LL_GPIO_Init(GPIOD, &GPIO_InitStruct);

  /**/
  GPIO_InitStruct.Pin = LL_GPIO_PIN_6;
  GPIO_InitStruct.Mode = LL_GPIO_MODE_OUTPUT;
  GPIO_InitStruct.Speed = LL_GPIO_SPEED_FREQ_LOW;
  GPIO_InitStruct.OutputType = LL_GPIO_OUTPUT_PUSHPULL;
  GPIO_InitStruct.Pull = LL_GPIO_PULL_NO;
  LL_GPIO_Init(GPIOD, &GPIO_InitStruct);

  /**/
  GPIO_InitStruct.Pin = LL_GPIO_PIN_1;
  GPIO_InitStruct.Mode = LL_GPIO_MODE_OUTPUT;
  GPIO_InitStruct.Speed = LL_GPIO_SPEED_FREQ_LOW;
  GPIO_InitStruct.OutputType = LL_GPIO_OUTPUT_PUSHPULL;
  GPIO_InitStruct.Pull = LL_GPIO_PULL_NO;
  LL_GPIO_Init(GPIOE, &GPIO_InitStruct);

}

void Error_Handler(void)
{
  __disable_irq();
  while (1)
  {
  }
}
